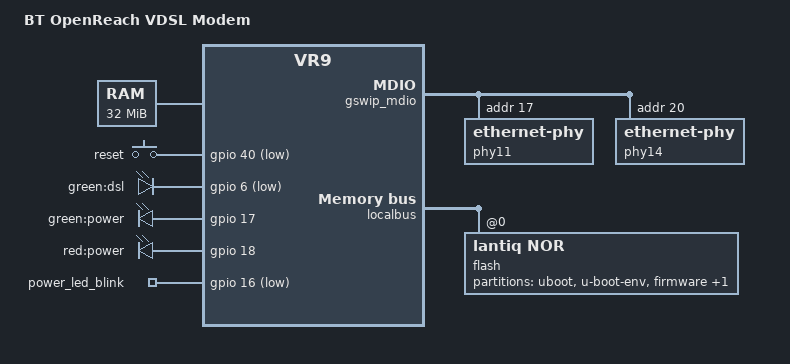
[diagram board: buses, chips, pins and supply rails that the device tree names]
#include "vr9.dtsi"

#include <dt-bindings/input/input.h>
#include <dt-bindings/mips/lantiq_rcu_gphy.h>

/ {
	compatible = "alphanetworks,asl56026", "lantiq,xway", "lantiq,vr9";
	model = "BT OpenReach VDSL Modem";

	chosen {
		bootargs = "console=ttyLTQ0,115200";
	};

	aliases {
		led-boot = &power_green;
		led-failsafe = &power_red;
		led-running = &power_green;
		led-upgrade = &power_green;

		led-dsl = &dsl;
	};

	memory@0 {
		device_type = "memory";
		reg = <0x0 0x2000000>;
	};

	keys {
		compatible = "gpio-keys-polled";
		poll-interval = <100>;

		reset {
			label = "reset";
			gpios = <&gpio 40 GPIO_ACTIVE_LOW>;
			linux,code = <KEY_RESTART>;
		};
	};

	leds {
		compatible = "gpio-leds";

		dsl: dsl {
			label = "green:dsl";
			gpios = <&gpio 6 GPIO_ACTIVE_LOW>;
		};

		/* power-* is a bicolour led */
		power_green: power_green {
			label = "green:power";
			gpios = <&gpio 17 GPIO_ACTIVE_HIGH>;
			default-state = "keep";
		};

		power_red: power_red {
			label = "red:power";
			gpios = <&gpio 18 GPIO_ACTIVE_HIGH>;
		};
	};

	gpio_export {
		compatible = "gpio-export";
		#size-cells = <0>;

		power_led_blink {
			gpio-export,name = "power_led_blink";
			gpio-export,output = <0>;
			gpios = <&gpio 16 GPIO_ACTIVE_LOW>;
		};
	};
};

&gphy0 {
	lantiq,gphy-mode = <GPHY_MODE_FE>;
};

&gphy1 {
	lantiq,gphy-mode = <GPHY_MODE_FE>;
};

&gswip_mdio {
	phy11: ethernet-phy@11 {
		reg = <0x11>;
	};

	phy14: ethernet-phy@14 {
		reg = <0x14>;
	};
};

&gswip_ports {
	port@2 {
		reg = <2>;
		label = "lan1";
		phy-mode = "internal";
		phy-handle = <&phy11>;
	};

	port@3 {
		reg = <3>;
		label = "lan2";
		phy-mode = "internal";
		phy-handle = <&phy14>;
	};
};

&localbus {
	flash@0 {
		compatible = "lantiq,nor";
		bank-width = <2>;
		reg = <0 0x0 0x0800000>;

		partitions {
			compatible = "fixed-partitions";
			#address-cells = <1>;
			#size-cells = <1>;

			partition@0 {
				label = "uboot";
				reg = <0x0 0x30000>;
			};

			partition@30000 {
				label = "u-boot-env";
				reg = <0x30000 0x10000>;
			};

			partition@40000 {
				label = "firmware";
				reg = <0x40000 0x750000>;
			};

			partition@790000 {
				label = "ddrconfig";
				reg = <0x790000 0x70000>;
				read-only;
			};
		};
	};
};
